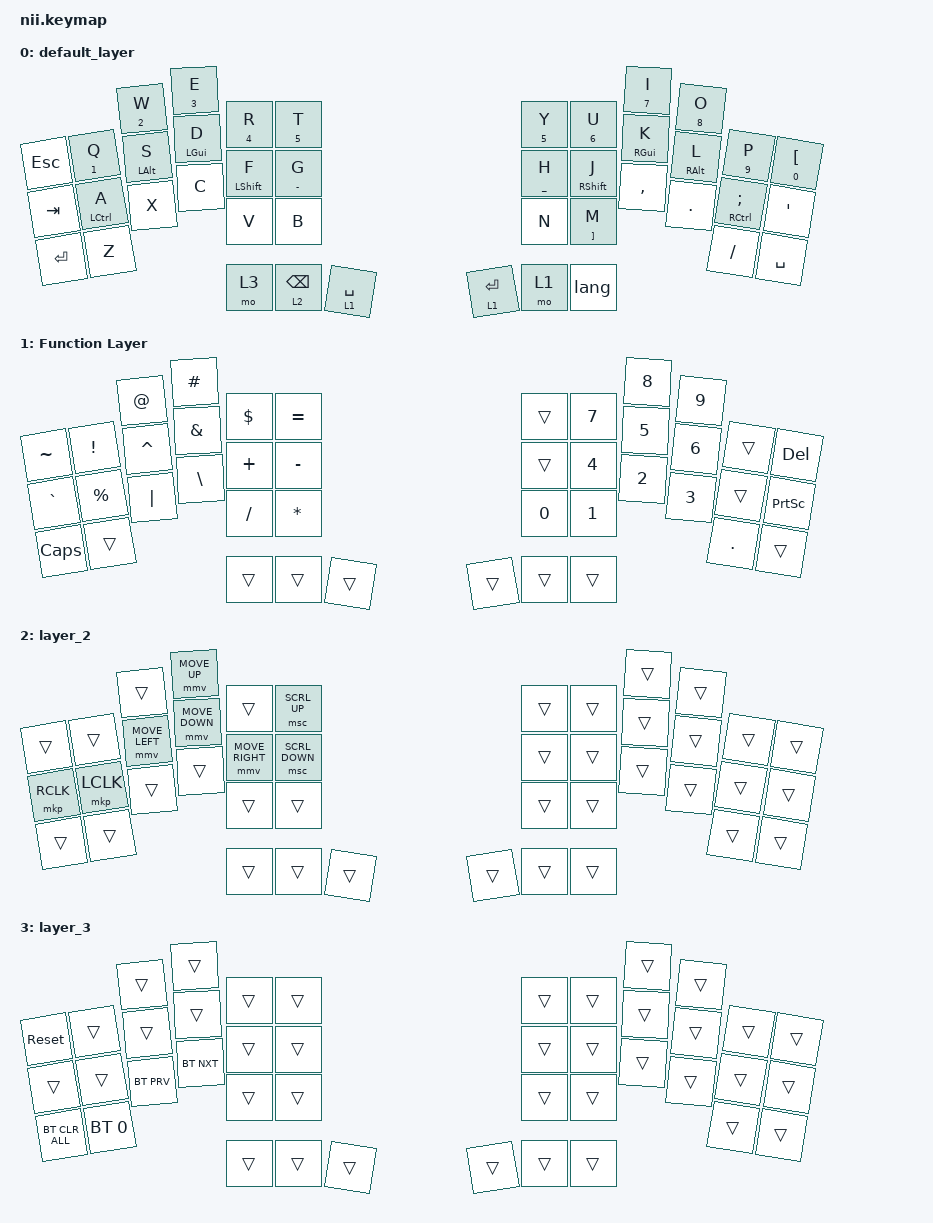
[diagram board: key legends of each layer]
// This file was generated from a template. Edit it to match your keyboard.
// See https://zmk.dev/docs/development/hardware-integration/new-shield for more instructions.

#include <behaviors.dtsi>
#include <dt-bindings/zmk/bt.h>
#include <dt-bindings/zmk/keys.h>
#include <dt-bindings/zmk/pointing.h>

// Define constants for layer names for readability (optional but good practice)

#define BASE 0
#define FUNC 1 // Function layer for BT controls, etc.

&lt { require-prior-idle-ms = <150>; };

/ {
    behaviors {
        HML: HML {
            compatible = "zmk,behavior-hold-tap";
            label = "HML";
            bindings = <&kp>, <&kp>;

            #binding-cells = <2>;
            tapping-term-ms = <200>;
            quick-tap-ms = <300>;
            flavor = "balanced";
            hold-trigger-on-release;
            hold-trigger-key-positions = <6 18 19 7 8 9 10 11 20 21 22 23 32 33 34 35 6 7 18 19 20 30 31 32 36 37 38 39 40 41>;
            require-prior-idle-ms = <150>;
        };

        HMR: HMR {
            compatible = "zmk,behavior-hold-tap";
            label = "HMR";
            bindings = <&kp>, <&kp>;

            #binding-cells = <2>;
            tapping-term-ms = <200>;
            quick-tap-ms = <300>;
            flavor = "balanced";
            hold-trigger-on-release;
            hold-trigger-key-positions = <0 1 2 3 4 5 12 13 14 15 16 17 24 25 26 27 28 29 36 37 38 39 40 41>;
            require-prior-idle-ms = <150>;
        };
    };

    combos {
        compatible = "zmk,combos";

        parenthesis-l {
            bindings = <&kp LEFT_PARENTHESIS>;
            key-positions = <16 17>;
        };

        brace-l {
            bindings = <&kp LEFT_BRACE>;
            key-positions = <4 5>;
        };

        brackets-l {
            bindings = <&kp LEFT_BRACKET>;
            key-positions = <28 29>;
        };

        brace-r {
            bindings = <&kp RIGHT_BRACE>;
            key-positions = <6 7>;
        };

        parenthesis-r {
            bindings = <&kp RIGHT_PARENTHESIS>;
            key-positions = <18 19>;
        };

        bracket_r {
            bindings = <&kp RIGHT_BRACKET>;
            key-positions = <30 31>;
        };

        up {
            bindings = <&kp UP_ARROW>;
            key-positions = <7 8>;
        };

        down {
            bindings = <&kp DOWN>;
            key-positions = <31 32>;
        };

        left {
            bindings = <&kp LEFT>;
            key-positions = <19 20>;
        };

        right {
            bindings = <&kp RIGHT>;
            key-positions = <20 21>;
        };
    };

    macros {
        lang: lang {
            compatible = "zmk,behavior-macro";
            #binding-cells = <0>;
            bindings = <&kp RG(SPACE)>;
            label = "LANG";
        };
    };

    keymap {
        compatible = "zmk,keymap";

        // Base Layer (Layer 0) - Your primary typing layer

        default_layer {
            bindings = <
&kp ESC    &HML NUMBER_1 Q      &HML NUMBER_2 W  &HML NUMBER_3 E  &HML NUMBER_4 R    &HML N5 T       &HMR N5 Y     &HMR N6 U             &HMR N7 I         &HMR N8 O         &HMR N9 P                     &HMR N0 LEFT_BRACKET
&kp TAB    &HML LEFT_CONTROL A  &HML LEFT_ALT S  &HML LEFT_GUI D  &HML LEFT_SHIFT F  &HML MINUS G    &HMR UNDER H  &HMR RIGHT_SHIFT J    &HMR RIGHT_GUI K  &HMR RIGHT_ALT L  &HMR RIGHT_CONTROL SEMICOLON  &kp SQT
&kp ENTER  &kp Z                &kp X            &kp C            &kp V              &kp B           &kp N         &HMR RIGHT_BRACKET M  &kp COMMA         &kp PERIOD        &kp FSLH                      &kp SPACE
                                                 &mo 3            &lt 2 BACKSPACE    &lt 1 SPACE     &lt 1 ENTER   &mo 1                 &lang
            >;
        };

        // Function Layer (Layer 1) - Accessed by holding the MO(FUNC) key
        // BT controls primarily on the left half's second row for easier access

        layer_1 {
            display-name = "Function Layer"; // Optional label for display module
            bindings = <
&kp TILDE  &kp EXCL     &kp AT     &kp HASH       &kp DOLLAR  &kp EQUAL    &trans        &kp NUMBER_7  &kp NUMBER_8  &kp NUMBER_9  &trans      &kp DEL
&kp GRAVE  &kp PERCENT  &kp CARET  &kp AMPS       &kp PLUS    &kp MINUS    &trans        &kp NUMBER_4  &kp NUMBER_5  &kp NUMBER_6  &trans      &kp PRINTSCREEN
&kp CAPS   &trans       &kp PIPE   &kp BACKSLASH  &kp SLASH   &kp ASTRK    &kp NUMBER_0  &kp NUMBER_1  &kp NUMBER_2  &kp NUMBER_3  &kp PERIOD  &trans
                                   &trans         &trans      &trans       &trans        &trans        &trans
            >;
        };

        layer_2 {
            bindings = <
&trans     &trans     &trans          &mmv MOVE_UP    &trans           &msc SCRL_UP      &trans  &trans  &trans  &trans  &trans  &trans
&mkp RCLK  &mkp LCLK  &mmv MOVE_LEFT  &mmv MOVE_DOWN  &mmv MOVE_RIGHT  &msc SCRL_DOWN    &trans  &trans  &trans  &trans  &trans  &trans
&trans     &trans     &trans          &trans          &trans           &trans            &trans  &trans  &trans  &trans  &trans  &trans
                                      &trans          &trans           &trans            &trans  &trans  &trans
            >;
        };

        layer_3 {
            bindings = <
&sys_reset      &trans        &trans      &trans      &trans  &trans    &trans  &trans  &trans  &trans  &trans  &trans
&trans          &trans        &trans      &trans      &trans  &trans    &trans  &trans  &trans  &trans  &trans  &trans
&bt BT_CLR_ALL  &bt BT_SEL 0  &bt BT_PRV  &bt BT_NXT  &trans  &trans    &trans  &trans  &trans  &trans  &trans  &trans
                                          &trans      &trans  &trans    &trans  &trans  &trans
            >;
        };
    };
};
